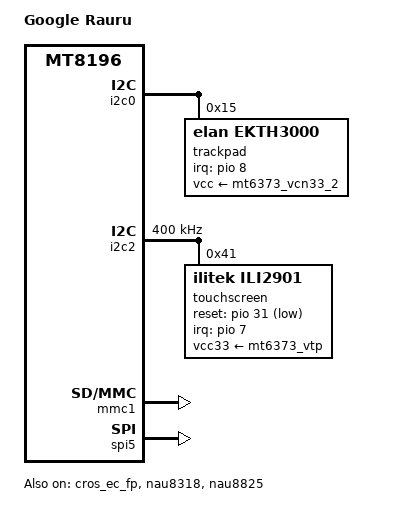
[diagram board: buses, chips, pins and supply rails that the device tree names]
// SPDX-License-Identifier: (GPL-2.0 OR MIT)
/*
 * Copyright (C) 2024 Google LLC
 * Copyright (C) 2025 Collabora Ltd
 *                    AngeloGioacchino Del Regno <angelogioacchino.delregno@collabora.com>
 */

/dts-v1/;
#include "mt8196-rauru.dtsi"

/ {
	model = "Google Rauru";
	compatible = "google,rauru", "mediatek,mt8196";
};

&cros_ec_fp {
	status = "okay";
};

&i2c0 {
	/* elan trackpad */
	trackpad@15 {
		compatible = "elan,ekth3000";
		reg = <0x15>;
		interrupts-extended = <&pio 8 IRQ_TYPE_LEVEL_LOW>;
		pinctrl-names = "default";
		pinctrl-0 = <&trackpad_pins>;
		vcc-supply = <&mt6373_vcn33_2>;
		wakeup-source;
	};
};

&i2c2 {
	clock-frequency = <400000>;
	pinctrl-names = "default";
	pinctrl-0 = <&i2c2_pins>;
	status = "okay";

	touchscreen: touchscreen@41 {
		compatible = "ilitek,ili2901";
		reg = <0x41>;
		interrupts-extended = <&pio 7 IRQ_TYPE_LEVEL_LOW>;
		pinctrl-names = "default";
		pinctrl-0 = <&touchscreen_pins>;
		reset-gpios = <&pio 31 GPIO_ACTIVE_LOW>;
		vcc33-supply = <&mt6373_vtp>;
	};
};

&keyboard_controller {
	function-row-physmap = <
		MATRIX_KEY(0x00, 0x02, 0)	/* T1 */
		MATRIX_KEY(0x03, 0x02, 0)	/* T2 */
		MATRIX_KEY(0x02, 0x02, 0)	/* T3 */
		MATRIX_KEY(0x01, 0x02, 0)	/* T4 */
		MATRIX_KEY(0x03, 0x04, 0)	/* T5 */
		MATRIX_KEY(0x02, 0x04, 0)	/* T6 */
		MATRIX_KEY(0x01, 0x04, 0)	/* T7 */
		MATRIX_KEY(0x02, 0x09, 0)	/* T8 */
		MATRIX_KEY(0x01, 0x09, 0)	/* T9 */
		MATRIX_KEY(0x00, 0x04, 0)	/* T10 */
	>;

	linux,keymap = <
		MATRIX_KEY(0x00, 0x02, KEY_BACK)
		MATRIX_KEY(0x03, 0x02, KEY_REFRESH)
		MATRIX_KEY(0x02, 0x02, KEY_ZOOM)
		MATRIX_KEY(0x01, 0x02, KEY_SCALE)
		MATRIX_KEY(0x03, 0x04, KEY_SYSRQ)
		MATRIX_KEY(0x02, 0x04, KEY_BRIGHTNESSDOWN)
		MATRIX_KEY(0x01, 0x04, KEY_BRIGHTNESSUP)
		MATRIX_KEY(0x02, 0x09, KEY_MUTE)
		MATRIX_KEY(0x01, 0x09, KEY_VOLUMEDOWN)
		MATRIX_KEY(0x00, 0x04, KEY_VOLUMEUP)
		CROS_STD_MAIN_KEYMAP
	>;
};

&mmc1 {
	status = "okay";
};

&nau8318 {
	status = "okay";
};

&nau8825 {
	status = "okay";
};

&sound {
	compatible = "mediatek,mt8196-nau8825-sound";
	model = "mt8196-nau8825";

	audio-routing =
		"Headphone Jack", "HPOL",
		"Headphone Jack", "HPOR";

	mediatek,dai-link =
		"AFE_SOF_DL_24CH", "AFE_SOF_DL1", "AFE_SOF_UL0",
		"AFE_SOF_UL1", "AFE_SOF_UL2", "HDMI_FE", "I2SIN6_BE",
		"I2SOUT4_BE", "I2SOUT6_BE", "AP_DMIC_BE", "AP_DMIC_CH34_BE",
		"TDM_DPTX_BE";

	dai-link-0 {
		link-name = "I2SOUT6_BE";
		mediatek,clk-provider = "cpu";
		codec {
			sound-dai = <&nau8825>;
		};
	};

	dai-link-1 {
		link-name = "I2SIN6_BE";
		mediatek,clk-provider = "cpu";
		codec {
			sound-dai = <&nau8825>;
		};
	};

	dai-link-2 {
		link-name = "I2SOUT4_BE";
		mediatek,clk-provider = "cpu";
		codec {
			sound-dai = <&nau8318>;
		};
	};
};

&spi5 {
	status = "okay";
};
